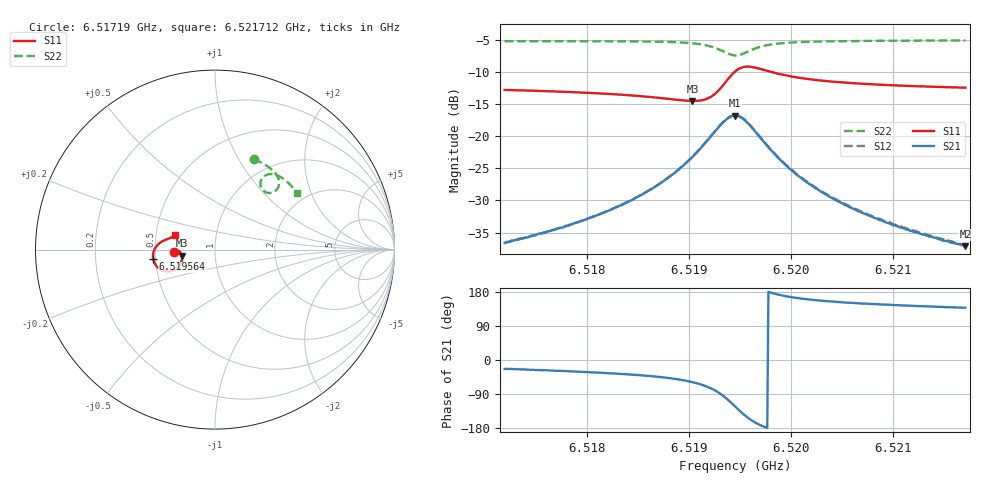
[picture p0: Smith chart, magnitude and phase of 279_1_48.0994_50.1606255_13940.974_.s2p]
#  HZ  S  RI  R  50.00
! Rohde & Schwarz Vector Network Analyzer
! Rohde-Schwarz,ZNB20-2Port,1311601062101988,3.16
! Created: UTC 12/23/2023, 4:02:33 AM
! freq[Hz]  re:S11  im:S11  re:S21  im:S21  re:S12  im:S12  re:S22  im:S22
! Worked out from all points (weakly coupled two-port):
!   401 points, 6.51719 GHz to 6.521712 GHz, reference 50 ohm
!   highest |S21| = -16.82 dB at 6.519451 GHz (marker M1); lowest = -37.1 dB at 6.521712 GHz (marker M2)
!   lowest |S11| = -14.5 dB at 6.519033 GHz (marker M3), VSWR 1.46, Z = 34.3 - j2.37 ohm
!   |S11| at or under -10 dB: start of sweep to 6.519447 GHz; 6.519808 GHz to end of sweep
!   |S22| runs from -7.4 to -5.1 dB; largest |S21 - S12| = 0.0044
!   S11 on the Smith chart (normalised r, x): 6.51719 GHz: 0.63, -0.02; 6.519564 GHz: 0.49, -0.06; 6.521712 GHz: 0.63, +0.11
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6.5171901e9  -0.229 -0.0131  0.0135 -0.00596  0.0138 -0.00537  0.2167 0.5039
6.5175858e9  -0.2243 -0.0077  0.0159 -0.00803  0.0161 -0.0076  0.2459 0.4909
6.5179475e9  -0.2187 -0.00382  0.0188 -0.0114  0.0191 -0.0108  0.2725 0.4764
6.5183545e9  -0.2097 -0.00257  0.0236 -0.0178  0.0243 -0.0171  0.3031 0.4563
6.5187049e9  -0.1986 -0.00824  0.03 -0.0298  0.0311 -0.029  0.3304 0.4321
6.5188858e9  -0.1911 -0.0178  0.0341 -0.0418  0.0356 -0.041  0.3444 0.4138
6.5190327e9  -0.1851 -0.0333  0.0361 -0.0587  0.0382 -0.0579  0.3542 0.3923
6.5191344e9  -0.184 -0.052  0.034 -0.0769  0.0365 -0.0764  0.3572 0.3721
6.5192249e9  -0.1903 -0.0764  0.0245 -0.099  0.0276 -0.0991  0.3529 0.3489
6.5192814e9  -0.2025 -0.095  0.0109 -0.1148  0.0144 -0.1154  0.3428 0.3332
6.5193605e9  -0.2369 -0.1177  -0.0232 -0.1317  -0.0197 -0.1334  0.3161 0.3168
6.519451e9  -0.2974 -0.1139  -0.0771 -0.1219  -0.0743 -0.1251  0.274 0.3252
6.5195075e9  -0.3287 -0.0882  -0.102 -0.0961  -0.1002 -0.0997  0.2566 0.3473
6.519564e9  -0.3438 -0.0545  -0.1117 -0.0653  -0.1107 -0.0691  0.2533 0.3726
6.5196658e9  -0.3395 -0.00445  -0.1024 -0.0228  -0.1025 -0.0259  0.2704 0.4052
6.5197901e9  -0.3177 0.0284  -0.0802 0.00173  -0.0809 -0.0006  0.2987 0.4198
6.5200049e9  -0.2875 0.0492  -0.0528 0.0133  -0.0536 0.0121  0.3358 0.4179
6.5202084e9  -0.2702 0.0565  -0.0383 0.0149  -0.0391 0.0139  0.3597 0.408
6.5205475e9  -0.253 0.0632  -0.0253 0.0138  -0.0261 0.0132  0.3888 0.3887
6.5209658e9  -0.2401 0.0691  -0.0174 0.0118  -0.0181 0.0116  0.4167 0.3637
6.5213501e9  -0.2316 0.0743  -0.013 0.0104  -0.0135 0.0103  0.4382 0.3403
6.5217118e9  -0.2253 0.0792  -0.0104 0.00933  -0.0108 0.00934  0.4563 0.3179
